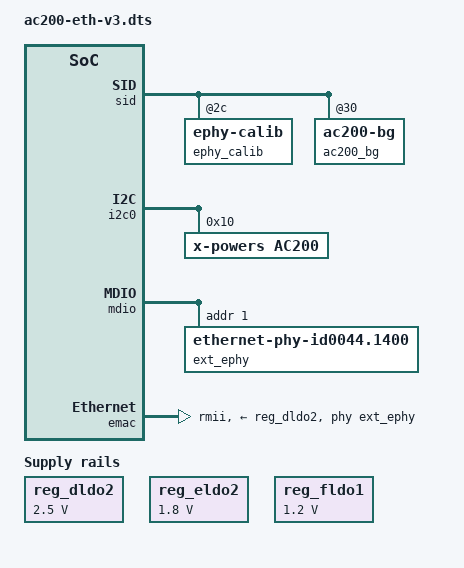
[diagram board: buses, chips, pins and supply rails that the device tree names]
/*
 * Remix Mini PC (H64 = A64): wired Ethernet through the AC200 EPHY, v3.
 * v1/v2 ran the MAC in MII mode; the board is wired for RMII (as on the H6 AC200 boxes),
 * so in MII the MAC waited for an RX/TX clock on pins nothing drives -> "EMAC reset timeout".
 * The PHY node carries no resets/clocks: phylib must not hold it in reset (see notes).
 * Build: dtc -@ -I dts -O dtb -o ac200-eth.dtbo ac200-eth-v3.dts
 */
/dts-v1/;
/plugin/;

&{/} {
	ac200_clk: ac200-clk {
		compatible = "fixed-clock";
		#clock-cells = <0>;
		clock-frequency = <24000000>;
	};
};

&sid {
	ephy_calib: ephy-calib@2c { reg = <0x2c 0x2>; };
	ac200_bg: ac200-bg@30 { reg = <0x30 0x2>; };
};

&reg_dldo2 {
	regulator-min-microvolt = <2500000>;
	regulator-max-microvolt = <2500000>;
	regulator-always-on;
	regulator-name = "vcc-ephy-2v5";
};

&reg_eldo2 {
	regulator-min-microvolt = <1800000>;
	regulator-max-microvolt = <1800000>;
	regulator-always-on;
	regulator-name = "vcc-ephy-1v8";
};

&reg_fldo1 {
	regulator-min-microvolt = <1200000>;
	regulator-max-microvolt = <1200000>;
	regulator-always-on;
	regulator-name = "vcc-ephy-1v2";
};

&i2c0 {
	#address-cells = <1>;
	#size-cells = <0>;

	ac200: mfd@10 {
		compatible = "x-powers,ac200";
		reg = <0x10>;
		clocks = <&ac200_clk>;
		interrupt-controller;
		#interrupt-cells = <1>;
		nvmem-cells = <&ac200_bg>;
		nvmem-cell-names = "bandgap";

		ac200_ephy_ctl: syscon {
			compatible = "x-powers,ac200-ephy-ctl";
			nvmem-cells = <&ephy_calib>;
			nvmem-cell-names = "calibration";
			#clock-cells = <0>;
			#reset-cells = <0>;
			phy-mode = "rmii";
			x-powers,led-polarity = <0>;
			phy-address = <1>;
			status = "okay";
		};
	};
};

&mdio {
	ext_ephy: ethernet-phy@1 {
		compatible = "ethernet-phy-id0044.1400", "ethernet-phy-ieee802.3-c22";
		reg = <1>;
	};
};

&emac {
	pinctrl-names = "default";
	pinctrl-0 = <&rmii_pins>;
	phy-mode = "rmii";
	phy-handle = <&ext_ephy>;
	phy-supply = <&reg_dldo2>;
	status = "okay";
};
